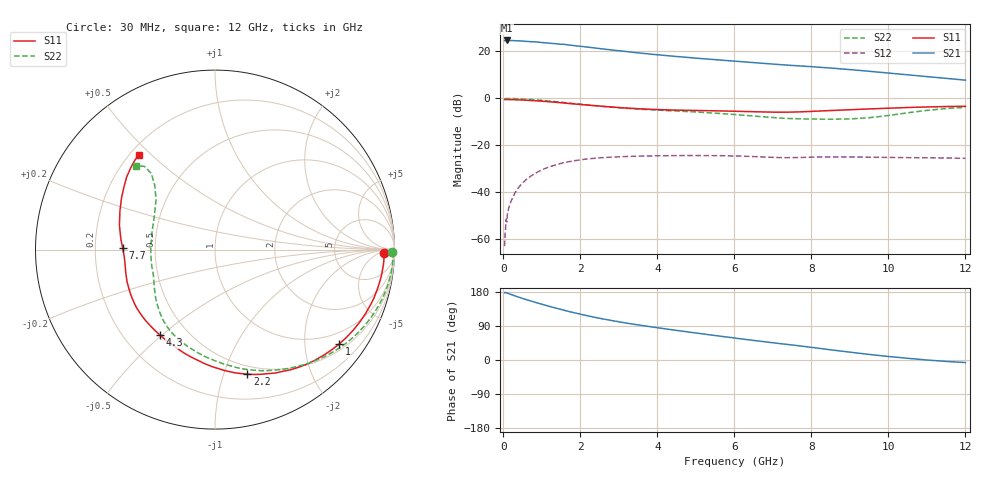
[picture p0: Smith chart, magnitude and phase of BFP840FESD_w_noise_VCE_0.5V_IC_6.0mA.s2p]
! Infineon Technologies  Discrete & RF Semiconductors
! BFP840FESD
! VCE =  0.5 V,  IC =  6.0 mA
! Common Emitter S-Parameters:  May 2012
# GHz  S  MA  R  50
!  f  S11  S21  S12  S22
! GHz  MAG  ANG  MAG  ANG  MAG  ANG  MAG  ANG
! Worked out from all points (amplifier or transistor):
!   103 points, 30 MHz to 12 GHz, reference 50 ohm
!   highest |S21| = 24.7 dB at 80 MHz (marker M1)
!   |S21| within 3 dB of that: start of sweep to 2.263 GHz
!   unconditionally stable (mu >= 1): 6.96 GHz to end of sweep
!   at 400 MHz: K = 0.04, MSG = 31.2 dB, |S12| = -37.9 dB
!   at 3.7 GHz: K = 0.41, MSG = 21.9 dB, |S12| = -24.6 dB
!   at 12 GHz: K = 1.36, MAG = 13.1 dB, |S12| = -25.6 dB
!   lowest NFmin = 0.57 dB at 450 MHz
!   S11 on the Smith chart (normalised r, x): 30 MHz: 30, -11; 1 GHz: 0.66, -2.83; 2.2 GHz: 0.42, -1.20; 4.3 GHz: 0.35, -0.49; 7.7 GHz: 0.32, +0.01; 12 GHz: 0.23, +0.46
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0.03  0.9434 -1.2  16.96 177.5  0.0007 81.3  0.9887 -0.8
0.04  0.9434 -1.6  17.02 177.2  0.0012 96.1  0.99 -1.1
0.05  0.9418 -2.0  17.14 178.3  0.0015 94.8  0.9919 -1.4
0.08  0.9425 -3.1  17.2 177.2  0.0024 79.6  0.9911 -2.5
0.3  0.9344 -11.7  17.03 169.2  0.0097 82.1  0.9847 -10.4
0.5  0.92 -19.3  16.68 162.3  0.0158 76.8  0.9688 -17.2
0.8  0.8913 -30.3  16.12 153.0  0.0244 69.2  0.9343 -27.2
1  0.869 -37.3  15.54 147.1  0.0297 64.2  0.906 -33.7
1.2  0.8442 -44.2  15.03 141.3  0.0346 59.3  0.8754 -40.0
1.6  0.7917 -57.7  14.15 130.6  0.0428 50.6  0.8103 -52.3
2.1  0.7288 -72.7  12.64 118.5  0.05 40.8  0.7345 -66.6
2.2  0.7168 -75.5  12.35 116.3  0.0511 39.2  0.7213 -69.3
2.6  0.6742 -85.9  11.29 108.1  0.0545 33.0  0.6715 -79.0
3.1  0.6271 -97.9  10.18 99.0  0.057 26.7  0.6212 -89.6
4.1  0.5734 -118.7  8.373 83.7  0.0597 17.9  0.5559 -107.2
4.3  0.5666 -122.8  8.089 80.8  0.0599 16.4  0.5455 -110.3
5.1  0.5494 -137.7  7.11 69.9  0.0602 11.2  0.5057 -121.9
6.1  0.5278 -154.7  6.141 56.7  0.0586 5.9  0.4453 -136.2
7.7  0.5144 179.0  4.916 37.2  0.0547 5.8  0.365 -162.7
8.5  0.5495 165.7  4.433 26.9  0.0563 4.6  0.3586 178.7
10.5  0.6375 140.5  3.178 4.5  0.0543 3.2  0.4916 133.1
12  0.6774 128.7  2.448 -6.7  0.0525 6.1  0.642 133.2
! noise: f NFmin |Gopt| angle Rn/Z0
0.45  0.57  0.47  5  0.16
0.9  0.61  0.46  12  0.17
1.5  0.62  0.41  18  0.16
1.9  0.63  0.37  27  0.16
2.4  0.65  0.36  33  0.17
3.5  0.67  0.34  55  0.16
5.5  0.75  0.23  93  0.12
8  0.9  0.2  151  0.11
10  1.05  0.25  -148  0.11
12  1.27  0.42  -123  0.13
